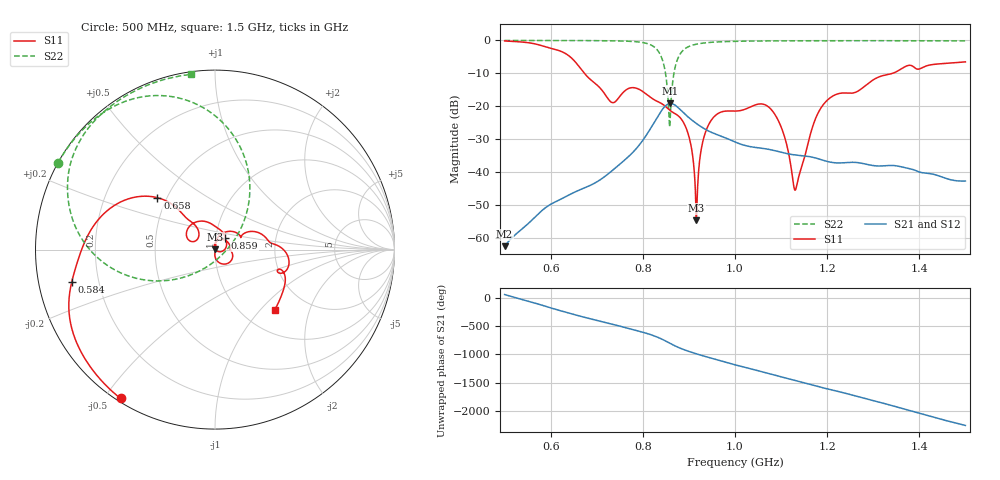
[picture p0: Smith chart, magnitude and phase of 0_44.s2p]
! TOUCHSTONE file generated by CST MICROWAVE STUDIO
! Date and time: Sat Oct 24 11:17:59 2020
! Project name: Scenario_1_Circular_Tissue_in_Line.cst
! Parameters = {L_HA=400; MT=2.54; Rad_Dielectric=30; Rad_Lower=7.3; Rad_Upper=30; a_HA=580; a_WG=246; b_HA=500; b_WG=121; c_HA=0; c_WG=187; d_feed=85; dx1=917.76; h_feed=15; h_lower=18; h_upper=40}
! Header version: 2018
! Port assignment regex: !\s*Touchstone port\s*([0-9]+)\s*=\s*(CST MWS port|CST DS port)\s*([0-9]+|Zmin|Zmax)\s*\(\"(.*)\"\)(\s*mode\s*([0-9]+))?.*
! Touchstone port assignment:
! Touchstone port 1 = CST MWS port 1 ("")
! Touchstone port 2 = CST MWS port 2 ("")
# GHz S DB R 50
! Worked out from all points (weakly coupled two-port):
!   1003 points, 500 MHz to 1.5 GHz, reference 50 ohm
!   highest |S21| = -19.13 dB at 860 MHz (marker M1); lowest = -62.4 dB at 500 MHz (marker M2)
!   lowest |S11| = -54.6 dB at 916 MHz (marker M3), VSWR 1.00, Z = 50.2 + j0.0587 ohm
!   |S11| at or under -10 dB: 673.3 MHz to 1.342 GHz (668.2 MHz wide, 66.3 % of centre)
!   |S22| runs from -26.3 to 0.0 dB; largest |S21 - S12| = 0.00013
!   S11 on the Smith chart (normalised r, x): 500 MHz: 0.01, -0.55; 584 MHz: 0.10, -0.11; 658 MHz: 0.44, +0.32; 859 MHz: 1.11, +0.15; 1.5 GHz: 1.39, -1.20
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0.5  -0.16 -122.4  -62.42 68.7  -62.42 68.7  -0.01 151.1
0.584  -1.74 -167.2  -51.26 -128.2  -51.26 -128.2  -0.02 145.3
0.658  -7.29 138.0  -45.64 56.2  -45.64 56.2  -0.04 139.2
0.667  -8.90 133.9  -45.11 36.2  -45.11 36.2  -0.04 138.3
0.732  -18.78 143.0  -39.67 -96.5  -39.67 -96.5  -0.11 130.5
0.778  -14.32 136.9  -33.99 165.2  -33.99 165.2  -0.31 120.9
0.834  -18.67 78.6  -22.68 20.7  -22.68 20.7  -3.37 83.8
0.859  -21.25 49.3  -19.13 -81.2  -19.13 -81.2  -24.91 -80.6
0.86  -21.36 48.2  -19.13 -85.6  -19.13 -85.6  -21.75 -104.5
0.873  -22.47 32.1  -19.96 -139.1  -19.96 -139.1  -6.62 -160.0
0.897  -27.75 -13.3  -23.07 142.7  -23.07 142.7  -2.03 170.3
0.916  -54.57 18.2  -25.18 91.8  -25.18 91.8  -1.15 159.5
0.929  -31.38 96.8  -26.41 59.7  -26.41 59.7  -0.84 154.6
0.943  -25.50 73.2  -27.51 26.8  -27.51 26.8  -0.63 150.6
1  -21.43 4.3  -30.81 -103.9  -30.81 -103.9  -0.27 140.2
1.081  -21.35 -66.0  -33.27 82.3  -33.27 82.3  -0.14 131.4
1.107  -29.00 -90.7  -34.16 26.2  -34.16 26.2  -0.12 129.1
1.131  -45.41 -16.2  -34.75 -23.9  -34.75 -23.9  -0.11 127.1
1.167  -26.83 83.9  -35.40 -102.5  -35.40 -102.5  -0.10 124.2
1.208  -17.25 47.8  -36.95 171.6  -36.95 171.5  -0.09 121.0
1.334  -10.28 8.0  -37.95 -96.7  -37.95 -96.7  -0.09 111.4
1.5  -6.51 -45.3  -42.66 -105.6  -42.67 -106.6  -0.13 97.8
